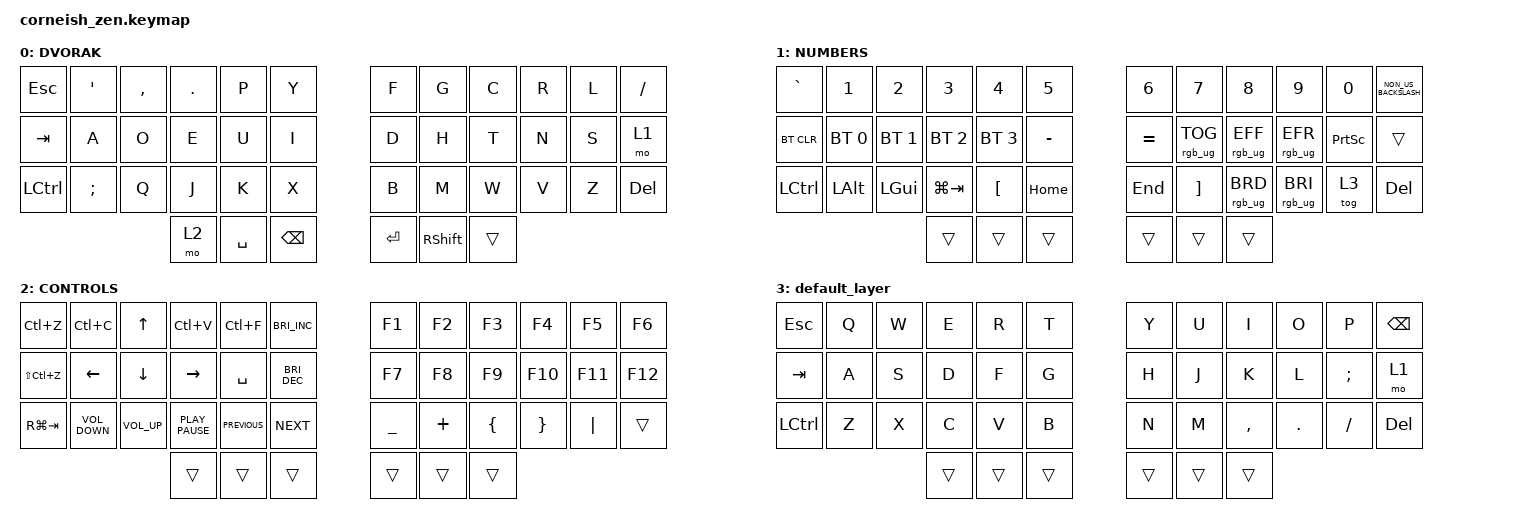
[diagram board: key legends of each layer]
/*
 * Copyright (c) 2020 The ZMK Contributors
 *
 * SPDX-License-Identifier: MIT
 */

#include <behaviors.dtsi>
#include <dt-bindings/zmk/bt.h>
#include <dt-bindings/zmk/keys.h>
#include <dt-bindings/zmk/rgb.h>

/ {
    keymap {
        compatible = "zmk,keymap";

        DVORAK {
            bindings = <
&kp ESC    &kp APOS  &kp COMMA  &kp DOT  &kp P      &kp Y       &kp F      &kp G      &kp C   &kp R  &kp L  &kp FSLH
&kp TAB    &kp A     &kp O      &kp E    &kp U      &kp I       &kp D      &kp H      &kp T   &kp N  &kp S  &mo 1
&kp LCTRL  &kp SEMI  &kp Q      &kp J    &kp K      &kp X       &kp B      &kp M      &kp W   &kp V  &kp Z  &kp DELETE
                                &mo 2    &kp SPACE  &kp BSPC    &kp ENTER  &kp RSHFT  &trans
            >;
        };

        NUMBERS {
            // -----------------------------------------------------------------------------------------
            // |  TAB |  1  |  2  |  3  |  4  |  5  |   |  6  |  7  |  8  |  9  |  0  | BKSP |
            // | BTCLR| BT1 | BT2 | BT3 | BT4 | BT5 |   | LFT | DWN |  UP | RGT |     |      |
            // | SHFT |     |     |     |     |     |   |     |     |     |     |     |      |
            //                    | GUI |     | SPC |   | ENT |     | ALT |

            bindings = <
&kp GRAVE         &kp N1        &kp N2        &kp N3        &kp N4        &kp N5       &kp N6     &kp N7           &kp N8           &kp N9           &kp N0           &kp NON_US_BACKSLASH
&bt BT_CLR        &bt BT_SEL 0  &bt BT_SEL 1  &bt BT_SEL 2  &bt BT_SEL 3  &kp MINUS    &kp EQUAL  &rgb_ug RGB_TOG  &rgb_ug RGB_EFF  &rgb_ug RGB_EFR  &kp PRINTSCREEN  &trans
&kp LEFT_CONTROL  &kp LEFT_ALT  &kp LEFT_GUI  &kp LG(TAB)   &kp LBKT      &kp HOME     &kp END    &kp RBKT         &rgb_ug RGB_BRD  &rgb_ug RGB_BRI  &tog 3           &kp DELETE
                                              &trans        &trans        &trans       &trans     &trans           &trans
            >;
        };

        CONTROLS {
            // -----------------------------------------------------------------------------------------
            // |  TAB |  !  |  @  |  #  |  $  |  %  |   |  ^  |  &  |  *  |  (  |  )  | BKSP |
            // | CTRL |     |     |     |     |     |   |  -  |  =  |  [  |  ]  |  \  |  `   |
            // | SHFT |     |     |     |     |     |   |  _  |  +  |  {  |  }  | "|" |  ~   |
            //                    | GUI |     | SPC |   | ENT |     | ALT |

            bindings = <
&kp LC(Z)      &kp LC(C)          &kp UP_ARROW     &kp LC(V)         &kp LC(F)       &kp C_BRIGHTNESS_INC    &kp F1     &kp F2    &kp F3    &kp F4    &kp F5    &kp F6
&kp LS(LC(Z))  &kp LEFT_ARROW     &kp DOWN         &kp RIGHT         &kp SPACE       &kp C_BRI_DEC           &kp F7     &kp F8    &kp F9    &kp F10   &kp F11   &kp F12
&kp RG(TAB)    &kp K_VOLUME_DOWN  &kp K_VOLUME_UP  &kp K_PLAY_PAUSE  &kp K_PREVIOUS  &kp K_NEXT              &kp UNDER  &kp PLUS  &kp LBRC  &kp RBRC  &kp PIPE  &trans
                                                   &trans            &trans          &trans                  &trans     &trans    &trans
            >;
        };

        default_layer {
            // -----------------------------------------------------------------------------------------
            // |  TAB |  Q  |  W  |  E  |  R  |  T  |   |  Y  |  U   |  I  |  O  |  P  | BKSP |
            // | CTRL |  A  |  S  |  D  |  F  |  G  |   |  H  |  J   |  K  |  L  |  ;  |  '   |
            // | SHFT |  Z  |  X  |  C  |  V  |  B  |   |  N  |  M   |  ,  |  .  |  /  | ESC  |
            //                    | GUI | LWR | SPC |   | ENT | RSE  | ALT |

            bindings = <
&kp ESCAPE        &kp Q  &kp W  &kp E   &kp R   &kp T     &kp Y   &kp U   &kp I      &kp O    &kp P     &kp BSPC
&kp TAB           &kp A  &kp S  &kp D   &kp F   &kp G     &kp H   &kp J   &kp K      &kp L    &kp SEMI  &mo 1
&kp LEFT_CONTROL  &kp Z  &kp X  &kp C   &kp V   &kp B     &kp N   &kp M   &kp COMMA  &kp DOT  &kp FSLH  &kp DELETE
                                &trans  &trans  &trans    &trans  &trans  &trans
            >;
        };
    };
};
